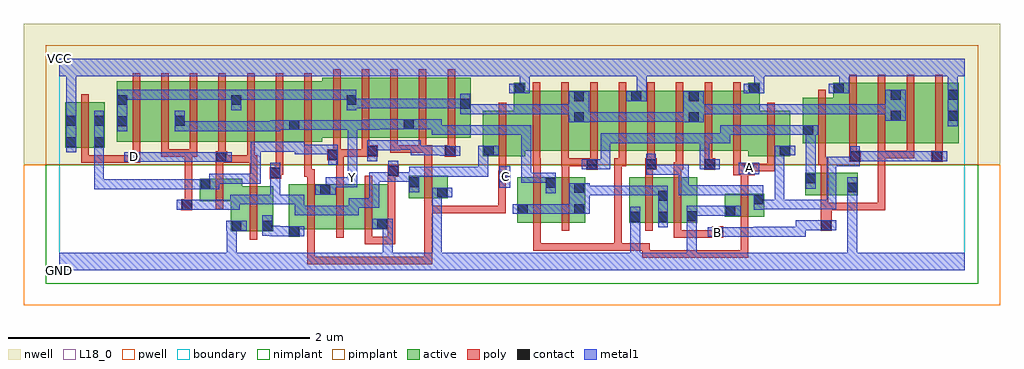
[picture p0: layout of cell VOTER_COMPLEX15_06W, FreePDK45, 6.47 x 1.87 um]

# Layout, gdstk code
import gdstk
lib = gdstk.Library(unit=1e-6, precision=1e-09)
def R(c, l, rs):  # rectangles x0, y0, x1, y1
    for r in rs: c.add(gdstk.rectangle(r[:2], r[2:], *l))
def A(c, l, x, y, w, h, nx, ny, dx, dy):  # array of equal rectangles
    R(c, l, [(x+i*dx, y+j*dy, x+i*dx+w, y+j*dy+h) for i in range(nx) for j in range(ny)])
active = (1, 0)
pwell = (2, 0)
nwell = (3, 0)
nimplant = (4, 0)
pimplant = (5, 0)
poly = (9, 0)
contact = (10, 0)
metal1 = (11, 0)
L18_0 = (18, 0)
boundary = (235, 0)

voter_complex15_06w = lib.new_cell('VOTER_COMPLEX15_06W')
A(voter_complex15_06w, active, 3.26, 0.79, 0.225, 0.4, 3, 1, 0.38, 0)
A(voter_complex15_06w, active, 3.41, 0.79, 0.23, 0.4, 3, 1, 0.38, 0)
R(voter_complex15_06w, active, [(1.52,0.22,1.595,0.57), (1.137,0.257,1.417,0.557), (1.137,0.257,1.212,0.495), (1.342,0.257,1.417,0.557), (1.52,0.27,1.802,0.57), (1.727,0.27,1.955,0.57), (1.955,0.27,2.18,0.57), (2.105,0.27,2.18,0.57), (3.037,0.315,3.297,0.615), (3.222,0.315,3.487,0.615), (3.782,0.315,3.857,0.615), (3.782,0.315,4.042,0.615), (3.967,0.315,4.232,0.615), (3.967,0.315,4.042,0.53), (4.157,0.315,4.232,0.615), (1.727,0.345,1.802,0.57), (3.037,0.345,3.112,0.615), (3.222,0.345,3.297,0.615), (3.412,0.345,3.487,0.615), (4.415,0.355,4.49,0.505), (4.415,0.355,4.675,0.505), (4.6,0.355,4.675,0.505), (0.932,0.457,1.212,0.607), (2.317,0.477,2.577,0.627), (2.502,0.477,2.577,0.627), (0.932,0.495,1.007,0.607), (2.317,0.495,2.392,0.627), (4.947,0.495,5.022,0.645), (4.947,0.495,5.297,0.645), (5.222,0.495,5.297,0.645), (2.81,0.755,3.09,1.055), (2.81,0.755,2.885,0.917), (4.57,0.755,4.85,1.055), (4.775,0.755,4.85,0.917), (3.015,0.79,3.26,1.19), (3.41,0.79,3.485,1.19), (4.17,0.79,4.245,1.19), (4.4,0.79,4.645,1.19), (0.04,0.812,0.115,1.112), (0.04,0.812,0.3,1.112), (0.225,0.812,0.3,1.055), (4.93,0.842,5.21,1.142), (5.135,0.842,5.36,1.242), (5.36,0.842,5.585,1.242), (5.51,0.842,5.74,1.242), (5.51,0.842,5.585,1.2), (5.74,0.842,5.965,1.242), (5.89,0.842,5.965,1.242), (0.38,0.852,0.605,1.252), (0.38,0.852,0.455,1.2), (0.605,0.852,0.835,1.252), (0.76,0.852,0.985,1.252), (0.76,0.852,0.835,1.07), (0.985,0.852,1.21,1.252), (1.135,0.852,1.365,1.252), (1.135,0.852,1.21,1.165), (1.365,0.852,1.595,1.252), (1.52,0.852,1.745,1.252), (1.52,0.852,1.595,1.07), (1.745,0.877,1.975,1.277), (1.9,0.877,2.125,1.277), (2.125,0.877,2.355,1.277), (2.28,0.877,2.505,1.277), (2.28,0.877,2.355,1.07), (2.505,0.877,2.73,1.277), (4.93,0.892,5.005,1.055), (5.135,0.892,5.21,1.242), (1.9,0.907,1.975,1.2), (2.655,0.907,2.73,1.155), (3.015,0.907,3.09,1.242), (3.79,0.907,3.865,1.19), (4.57,0.907,4.645,1.242)])
R(voter_complex15_06w, pwell, [(-0.235,-0.235,6.24,0.7)])
R(voter_complex15_06w, nwell, [(-0.235,0.7,6.24,1.635)])
R(voter_complex15_06w, nimplant, [(-0.09,-0.09,6.095,0.7)])
R(voter_complex15_06w, pimplant, [(-0.09,0.7,6.095,1.49)])
A(voter_complex15_06w, poly, 1.645, 0.215, 0.05, 0.41, 3, 1, 0.19, 0)
A(voter_complex15_06w, poly, 3.14, 0.69, 0.05, 0.095, 5, 1, 0.19, 0)
A(voter_complex15_06w, poly, 3.14, 0.735, 0.05, 0.51, 8, 1, 0.19, 0)
A(voter_complex15_06w, poly, 5.24, 0.742, 0.05, 0.095, 4, 1, 0.19, 0)
A(voter_complex15_06w, poly, 2.005, 0.777, 0.05, 0.095, 4, 1, 0.19, 0)
A(voter_complex15_06w, poly, 5.24, 0.787, 0.05, 0.51, 4, 1, 0.19, 0)
A(voter_complex15_06w, poly, 0.485, 0.797, 0.05, 0.51, 7, 1, 0.19, 0)
A(voter_complex15_06w, poly, 1.815, 0.822, 0.05, 0.51, 5, 1, 0.19, 0)
R(voter_complex15_06w, poly, [(1.645,0.037,1.695,0.087), (1.645,0.037,1.695,0.087), (1.645,0.037,1.695,0.087), (1.645,0.037,1.827,0.087), (1.645,0.037,1.695,0.265), (1.777,0.037,1.827,0.087), (1.777,0.037,1.827,0.087), (1.777,0.037,1.827,0.087), (1.777,0.037,1.827,0.087), (1.777,0.037,1.827,0.087), (1.777,0.037,2.095,0.087), (2.045,0.037,2.095,0.087), (2.045,0.037,2.095,0.087), (2.045,0.037,2.095,0.087), (2.045,0.037,2.245,0.087), (2.195,0.037,2.245,0.087), (2.195,0.037,2.245,0.087), (2.195,0.037,2.245,0.087), (2.195,0.037,2.472,0.087), (2.422,0.037,2.472,0.087), (2.422,0.037,2.472,0.087), (2.422,0.037,2.472,0.087), (2.422,0.037,2.472,0.427), (3.867,0.082,3.917,0.177), (3.867,0.082,3.917,0.132), (3.867,0.082,3.917,0.132), (3.867,0.082,3.917,0.132), (3.867,0.082,4.127,0.132), (4.077,0.082,4.127,0.132), (4.077,0.082,4.127,0.132), (4.077,0.082,4.127,0.132), (4.077,0.082,4.26,0.132), (4.21,0.082,4.26,0.132), (4.21,0.082,4.26,0.132), (4.21,0.082,4.26,0.132), (4.21,0.082,4.57,0.132), (4.52,0.082,4.57,0.132), (4.52,0.082,4.57,0.132), (4.52,0.082,4.57,0.132), (4.52,0.082,4.57,0.132), (4.52,0.082,4.57,0.132), (4.52,0.082,4.57,0.132), (4.52,0.082,4.57,0.132), (4.52,0.082,4.57,0.35), (3.142,0.127,3.192,0.177), (3.142,0.127,3.192,0.177), (3.142,0.127,3.192,0.177), (3.142,0.127,3.325,0.177), (3.142,0.127,3.192,0.31), (3.275,0.127,3.325,0.177), (3.275,0.127,3.6,0.177), (3.55,0.127,3.6,0.177), (3.55,0.127,3.6,0.177), (3.55,0.127,3.6,0.177), (3.55,0.127,3.732,0.177), (3.682,0.127,3.732,0.177), (3.682,0.127,3.732,0.177), (3.682,0.127,3.732,0.177), (3.682,0.127,3.732,0.177), (3.682,0.127,3.732,0.177), (3.682,0.127,3.732,0.177), (3.682,0.127,3.732,0.177), (3.682,0.127,3.732,0.177), (3.682,0.127,3.732,0.177), (3.682,0.127,3.917,0.177), (3.682,0.127,3.732,0.74), (3.867,0.127,3.917,0.177), (2.025,0.17,2.075,0.265), (2.025,0.17,2.075,0.22), (2.025,0.17,2.075,0.22), (2.025,0.17,2.075,0.22), (2.025,0.17,2.227,0.22), (2.177,0.17,2.227,0.22), (2.177,0.17,2.227,0.22), (2.177,0.17,2.227,0.22), (2.177,0.17,2.227,0.67), (1.262,0.202,1.312,0.612), (4.077,0.215,4.127,0.31), (4.077,0.215,4.127,0.265), (4.077,0.215,4.38,0.265), (4.33,0.215,4.405,0.29), (4.33,0.215,4.38,0.265), (4.33,0.215,4.38,0.265), (4.33,0.215,4.38,0.265), (4.33,0.215,4.38,0.265), (3.142,0.26,3.192,0.67), (3.332,0.26,3.382,0.67), (3.887,0.26,3.937,0.67), (4.077,0.26,4.127,0.67), (5.05,0.26,5.125,0.445), (4.52,0.3,4.57,0.56), (2.422,0.377,2.472,0.472), (2.422,0.377,2.472,0.427), (2.422,0.377,2.472,0.427), (2.422,0.377,2.472,0.427), (2.422,0.377,2.65,0.427), (2.6,0.377,2.65,0.427), (2.6,0.377,2.65,0.427), (2.6,0.377,2.65,0.427), (2.6,0.377,2.65,0.427), (2.6,0.377,2.65,0.427), (2.6,0.377,2.962,0.427), (2.912,0.377,2.962,0.427), (2.912,0.377,2.962,0.427), (2.912,0.377,2.962,0.427), (2.912,0.377,2.962,0.427), (2.912,0.377,2.962,0.427), (2.912,0.377,2.962,0.632), (0.807,0.395,0.882,0.47), (5.052,0.395,5.102,0.49), (5.075,0.395,5.125,0.445), (5.075,0.395,5.125,0.445), (5.075,0.395,5.257,0.445), (5.207,0.395,5.257,0.445), (5.207,0.395,5.48,0.445), (5.43,0.395,5.48,0.445), (5.43,0.395,5.48,0.445), (5.43,0.395,5.48,0.445), (5.43,0.395,5.48,0.445), (5.43,0.395,5.48,0.445), (5.43,0.395,5.48,0.445), (5.43,0.395,5.48,0.445), (5.43,0.395,5.48,0.792), (1.037,0.402,1.087,0.662), (0.832,0.42,0.882,0.802), (2.422,0.422,2.472,0.682), (5.052,0.44,5.102,0.7), (4.52,0.51,4.57,0.68), (1.262,0.562,1.312,0.762), (1.645,0.575,1.695,0.67), (1.835,0.575,1.885,0.777), (2.912,0.582,2.987,0.657), (1.395,0.607,1.47,0.682), (2.915,0.607,2.965,0.75), (1.037,0.612,1.087,0.762), (1.625,0.62,1.675,0.847), (1.625,0.62,1.695,0.67), (2.177,0.62,2.252,0.695), (3.142,0.62,3.192,0.74), (3.332,0.62,3.382,0.74), (3.887,0.62,3.937,0.715), (4.077,0.62,4.127,0.715), (4.47,0.63,4.612,0.705), (1.42,0.632,1.47,0.682), (1.42,0.632,1.47,0.682), (1.42,0.632,1.47,0.682), (1.42,0.632,1.485,0.682), (1.435,0.632,1.485,0.847), (2.422,0.632,2.472,0.827), (5.052,0.65,5.102,0.745), (4.47,0.655,4.52,0.785), (4.562,0.655,4.745,0.705), (4.695,0.655,4.745,0.75), (4.695,0.655,4.745,0.705), (4.695,0.655,4.745,0.705), (4.695,0.655,4.745,0.705), (3.495,0.665,3.57,0.74), (3.887,0.665,3.962,0.74), (4.077,0.665,4.14,0.715), (4.09,0.665,4.14,0.785), (4.277,0.665,4.352,0.74), (3.14,0.69,3.192,0.74), (3.33,0.69,3.382,0.74), (3.332,0.69,3.545,0.74), (3.495,0.69,3.545,0.74), (3.495,0.69,3.545,0.74), (3.682,0.69,3.76,0.74), (4.28,0.69,4.33,0.785), (5.035,0.695,5.085,0.837), (5.035,0.695,5.102,0.745), (2.915,0.7,2.965,1.11), (4.695,0.7,4.745,1.11), (0.145,0.712,0.195,0.807), (0.145,0.712,0.195,0.762), (0.145,0.712,0.195,0.762), (0.145,0.712,0.195,0.762), (0.145,0.712,0.51,0.762), (0.46,0.712,0.535,0.787), (0.46,0.712,0.51,0.762), (0.46,0.712,0.51,0.762), (1.037,0.712,1.112,0.787), (1.062,0.712,1.112,0.762), (1.062,0.712,1.112,0.762), (1.062,0.712,1.295,0.762), (1.245,0.712,1.312,0.762), (1.245,0.712,1.295,0.847), (5.24,0.717,5.315,0.792), (5.785,0.717,5.86,0.792), (1.777,0.727,1.885,0.802), (0.485,0.737,0.535,0.847), (1.055,0.737,1.105,0.847), (5.43,0.742,5.48,0.792), (5.43,0.742,5.67,0.792), (5.62,0.742,5.67,0.792), (5.62,0.742,5.67,0.792), (5.62,0.742,5.67,0.792), (0.675,0.752,0.725,0.847), (0.675,0.752,0.725,0.802), (0.675,0.752,0.882,0.802), (0.832,0.752,0.882,0.802), (0.832,0.752,0.882,0.802), (0.832,0.752,0.882,0.802), (0.832,0.752,0.882,0.802), (0.832,0.752,0.915,0.802), (0.865,0.752,0.915,0.847), (1.815,0.752,1.865,0.872), (1.835,0.752,1.885,0.802), (1.835,0.752,1.885,0.802), (1.835,0.752,2.055,0.802), (2.005,0.752,2.112,0.827), (2.555,0.752,2.63,0.827), (0.145,0.757,0.195,1.167), (2.195,0.777,2.245,0.827), (2.195,0.777,2.245,0.827), (2.195,0.777,2.245,0.827), (2.195,0.777,2.435,0.827), (2.385,0.777,2.472,0.827), (5.035,0.787,5.085,1.197)])
A(voter_complex15_06w, contact, 3.415, 1.12, 0.065, 0.065, 3, 1, 0.38, 0)
R(voter_complex15_06w, contact, [(4.335,0.22,4.4,0.285), (1.525,0.225,1.59,0.29), (1.142,0.262,1.207,0.327), (1.347,0.262,1.412,0.327), (5.055,0.265,5.12,0.33), (2.11,0.275,2.175,0.34), (3.787,0.32,3.852,0.385), (3.972,0.32,4.037,0.385), (4.162,0.325,4.227,0.39), (4.42,0.36,4.485,0.425), (3.042,0.372,3.107,0.437), (3.417,0.372,3.482,0.437), (0.812,0.4,0.877,0.465), (4.605,0.435,4.67,0.5), (3.972,0.46,4.037,0.525), (2.507,0.482,2.572,0.547), (1.732,0.5,1.797,0.565), (3.417,0.512,3.482,0.577), (5.227,0.515,5.292,0.58), (0.937,0.537,1.002,0.602), (3.227,0.545,3.292,0.61), (2.322,0.55,2.387,0.615), (4.952,0.575,5.017,0.64), (2.917,0.587,2.982,0.652), (1.4,0.612,1.465,0.677), (2.182,0.625,2.247,0.69), (4.542,0.635,4.607,0.7), (3.5,0.67,3.565,0.735), (3.892,0.67,3.957,0.735), (4.282,0.67,4.347,0.735), (0.465,0.717,0.53,0.782), (1.042,0.717,1.107,0.782), (5.245,0.722,5.31,0.787), (5.79,0.722,5.855,0.787), (1.782,0.732,1.847,0.797), (2.042,0.757,2.107,0.822), (2.56,0.757,2.625,0.822), (2.815,0.76,2.88,0.825), (4.78,0.76,4.845,0.825), (0.045,0.817,0.11,0.882), (0.23,0.817,0.295,0.882), (4.935,0.897,5,0.962), (1.525,0.93,1.59,0.995), (2.285,0.935,2.35,1), (0.385,0.955,0.45,1.02), (0.045,0.957,0.11,1.022), (0.23,0.957,0.295,1.022), (0.765,0.957,0.83,1.022), (3.415,0.98,3.48,1.045), (4.175,0.98,4.24,1.045), (5.515,0.99,5.58,1.055), (5.895,0.99,5.96,1.055), (2.66,1.07,2.725,1.135), (0.385,1.095,0.45,1.16), (1.14,1.095,1.205,1.16), (1.905,1.095,1.97,1.16), (5.515,1.13,5.58,1.195), (5.895,1.13,5.96,1.195), (3.02,1.172,3.085,1.237), (4.575,1.172,4.64,1.237), (5.14,1.172,5.205,1.237)])
R(voter_complex15_06w, metal1, [(0,0,6.005,0.115), (1.11,0.05,1.175,0.327), (2.145,0.05,2.21,0.115), (2.145,0.05,2.21,0.115), (2.145,0.05,2.21,0.115), (2.145,0.05,2.21,0.115), (2.145,0.05,2.21,0.34), (2.472,0.05,2.537,0.115), (2.472,0.05,2.537,0.115), (2.472,0.05,2.537,0.115), (2.472,0.05,2.537,0.115), (2.472,0.05,2.537,0.115), (2.472,0.05,2.537,0.115), (2.472,0.05,2.537,0.547), (3.787,0.05,3.852,0.115), (3.787,0.05,3.852,0.115), (3.787,0.05,3.852,0.115), (3.787,0.05,3.852,0.115), (3.787,0.05,3.852,0.35), (4.162,0.05,4.227,0.115), (4.162,0.05,4.227,0.115), (4.162,0.05,4.227,0.355), (5.227,0.05,5.292,0.115), (5.227,0.05,5.292,0.115), (5.227,0.05,5.292,0.545), (4.3,0.22,4.435,0.285), (4.37,0.22,4.45,0.285), (4.385,0.22,4.45,0.285), (4.385,0.22,4.67,0.285), (4.605,0.22,4.67,0.287), (4.605,0.222,4.67,0.287), (4.605,0.222,4.67,0.287), (4.605,0.222,4.812,0.287), (4.747,0.222,4.95,0.287), (4.747,0.222,4.812,0.287), (4.747,0.222,4.812,0.287), (4.747,0.222,4.812,0.287), (4.885,0.222,4.95,0.33), (1.397,0.225,1.462,0.292), (1.397,0.225,1.555,0.29), (1.49,0.225,1.625,0.29), (1.347,0.227,1.412,0.362), (1.347,0.227,1.462,0.292), (1.107,0.262,1.242,0.327), (1.11,0.262,1.175,0.327), (1.11,0.262,1.175,0.327), (1.11,0.262,1.175,0.327), (1.11,0.262,1.175,0.327), (4.885,0.265,5.085,0.33), (5.02,0.265,5.155,0.33), (2.075,0.275,2.21,0.34), (3.787,0.285,3.852,0.42), (3.972,0.285,4.037,0.56), (4.162,0.29,4.227,0.355), (4.162,0.29,4.227,0.355), (4.162,0.29,4.227,0.425), (4.162,0.36,4.227,0.425), (4.162,0.36,4.227,0.425), (4.162,0.36,4.312,0.425), (4.247,0.36,4.45,0.425), (4.247,0.36,4.312,0.425), (4.385,0.36,4.52,0.425), (1.56,0.362,1.625,0.427), (1.56,0.362,1.625,0.427), (1.56,0.362,1.625,0.5), (1.56,0.362,1.832,0.427), (1.767,0.362,1.832,0.427), (1.767,0.362,1.832,0.427), (1.767,0.362,1.832,0.427), (1.767,0.362,1.985,0.427), (1.92,0.362,1.985,0.477), (3.007,0.372,3.142,0.437), (3.077,0.372,3.142,0.437), (3.077,0.372,3.142,0.437), (3.077,0.372,3.307,0.437), (3.242,0.372,3.307,0.437), (3.242,0.372,3.307,0.437), (3.242,0.372,3.307,0.437), (3.242,0.372,3.447,0.437), (3.382,0.372,3.517,0.577), (0.777,0.4,0.912,0.465), (0.847,0.4,1.035,0.465), (0.97,0.4,1.035,0.465), (0.97,0.4,1.06,0.465), (0.995,0.4,1.06,0.465), (0.995,0.4,1.197,0.465), (1.132,0.4,1.197,0.5), (4.605,0.4,4.67,0.535), (4.605,0.402,4.81,0.467), (4.745,0.402,4.81,0.467), (4.745,0.402,4.81,0.467), (4.745,0.402,4.81,0.467), (4.745,0.402,4.81,0.467), (4.745,0.402,4.81,0.467), (4.745,0.402,4.81,0.467), (4.745,0.402,4.81,0.467), (4.745,0.402,4.95,0.467), (4.745,0.402,4.81,0.825), (4.885,0.402,4.95,0.467), (4.885,0.402,5.155,0.467), (5.09,0.402,5.155,0.467), (5.09,0.402,5.155,0.752), (1.92,0.412,1.985,0.477), (1.92,0.412,1.985,0.477), (1.92,0.412,2.122,0.477), (2.057,0.412,2.122,0.65), (1.132,0.435,1.312,0.5), (1.247,0.435,1.312,0.5), (1.247,0.435,1.342,0.5), (1.277,0.435,1.342,0.5), (1.277,0.435,1.465,0.5), (1.4,0.435,1.625,0.5), (1.4,0.435,1.465,0.712), (4.605,0.47,4.67,0.535), (4.605,0.47,4.67,0.562), (5.227,0.48,5.292,0.545), (5.227,0.48,5.292,0.545), (5.227,0.48,5.292,0.545), (5.227,0.48,5.292,0.545), (5.227,0.48,5.292,0.615), (2.472,0.482,2.607,0.547), (3.452,0.495,3.682,0.56), (3.617,0.495,3.82,0.56), (3.617,0.495,3.682,0.56), (3.617,0.495,3.682,0.56), (3.617,0.495,3.682,0.56), (3.755,0.495,3.82,0.56), (3.755,0.495,3.82,0.56), (3.755,0.495,3.82,0.56), (3.755,0.495,4.037,0.56), (3.972,0.495,4.037,0.56), (3.972,0.495,4.037,0.56), (4.11,0.497,4.312,0.562), (4.11,0.497,4.175,0.697), (4.247,0.497,4.45,0.562), (4.247,0.497,4.312,0.562), (4.247,0.497,4.312,0.562), (4.247,0.497,4.312,0.562), (4.385,0.497,4.45,0.562), (4.385,0.497,4.67,0.562), (1.697,0.5,1.832,0.565), (1.767,0.5,1.832,0.565), (1.767,0.5,1.832,0.615), (3.227,0.51,3.292,0.645), (2.322,0.515,2.387,0.65), (0.23,0.537,0.295,0.602), (0.23,0.537,0.295,0.602), (0.23,0.537,0.295,0.602), (0.23,0.537,0.565,0.602), (0.23,0.537,0.295,0.847), (0.5,0.537,0.565,0.602), (0.5,0.537,0.587,0.602), (0.522,0.537,0.587,0.602), (0.522,0.537,0.705,0.602), (0.64,0.537,0.705,0.602), (0.64,0.537,0.83,0.602), (0.765,0.537,0.83,0.602), (0.765,0.537,0.922,0.602), (0.857,0.537,0.922,0.602), (0.857,0.537,0.967,0.602), (0.902,0.537,1.037,0.602), (0.972,0.537,1.06,0.602), (0.995,0.537,1.06,0.637), (4.952,0.54,5.017,0.675), (2.917,0.547,2.992,0.687), (1.767,0.55,1.977,0.615), (1.912,0.55,1.977,0.615), (1.912,0.55,1.977,0.615), (1.912,0.55,1.977,0.685), (0.995,0.572,1.175,0.637), (1.11,0.572,1.175,0.637), (1.11,0.572,1.325,0.637), (1.26,0.572,1.325,0.637), (1.26,0.572,1.335,0.637), (1.27,0.572,1.335,0.637), (1.27,0.572,1.335,0.85), (3.065,0.58,3.13,0.645), (3.065,0.58,3.13,0.645), (3.065,0.58,3.13,0.645), (3.065,0.58,3.13,0.645), (3.065,0.58,3.13,0.645), (3.065,0.58,3.13,0.645), (3.065,0.58,3.13,0.645), (3.065,0.58,3.292,0.645), (3.065,0.58,3.13,0.962), (2.057,0.585,2.247,0.65), (2.182,0.585,2.387,0.65), (2.182,0.585,2.247,0.725), (2.322,0.585,2.387,0.685), (4.952,0.61,5.017,0.675), (4.952,0.61,5.017,0.675), (4.952,0.61,5.017,0.962), (1.912,0.62,1.977,0.995), (2.322,0.62,2.387,0.685), (2.322,0.62,2.397,0.685), (2.332,0.62,2.397,0.685), (2.332,0.62,2.587,0.685), (2.522,0.62,2.587,0.685), (2.522,0.62,2.587,0.685), (2.522,0.62,2.587,0.685), (2.522,0.62,2.845,0.685), (2.78,0.62,2.845,0.685), (2.78,0.62,2.845,0.685), (2.78,0.62,2.845,0.685), (2.78,0.62,2.845,0.685), (2.78,0.62,2.845,0.685), (2.78,0.62,2.845,0.825), (3.892,0.632,3.957,0.697), (3.892,0.632,4.175,0.697), (3.892,0.632,3.957,0.7), (3.892,0.635,3.957,0.7), (3.892,0.635,3.957,0.7), (3.892,0.635,3.957,0.77), (4.507,0.635,4.642,0.712), (3.465,0.67,3.6,0.735), (3.535,0.67,3.655,0.735), (3.59,0.67,3.655,0.735), (3.59,0.67,3.655,0.907), (4.247,0.67,4.382,0.735), (4.247,0.67,4.312,0.735), (4.247,0.67,4.312,0.735), (4.247,0.67,4.312,0.907), (5.09,0.687,5.155,0.752), (5.09,0.687,5.155,0.752), (5.09,0.687,5.155,0.752), (5.09,0.687,5.155,0.752), (5.09,0.687,5.155,0.752), (5.09,0.687,5.31,0.752), (5.245,0.687,5.31,0.822), (1.782,0.697,1.847,0.832), (0.43,0.717,0.565,0.782), (0.5,0.717,0.587,0.782), (0.522,0.717,0.587,0.782), (0.522,0.717,0.702,0.782), (0.637,0.717,0.702,0.782), (0.637,0.717,0.83,0.782), (0.765,0.717,0.83,0.782), (0.765,0.717,0.842,0.782), (0.777,0.717,0.842,0.782), (0.777,0.717,0.967,0.782), (0.902,0.717,0.967,0.782), (0.902,0.717,1.072,0.782), (1.007,0.717,1.142,0.782), (2.042,0.722,2.107,0.86), (5.245,0.722,5.31,0.787), (5.245,0.722,5.31,0.787), (5.245,0.722,5.447,0.787), (5.382,0.722,5.447,0.787), (5.382,0.722,5.447,0.787), (5.382,0.722,5.447,0.787), (5.382,0.722,5.682,0.787), (5.617,0.722,5.82,0.787), (5.617,0.722,5.682,0.787), (5.617,0.722,5.682,0.787), (5.617,0.722,5.682,0.787), (5.755,0.722,5.89,0.787), (2.522,0.757,2.587,0.825), (2.522,0.757,2.59,0.822), (2.525,0.757,2.66,0.822), (2.332,0.76,2.587,0.825), (2.332,0.76,2.397,0.862), (2.78,0.76,2.915,0.825), (4.745,0.76,4.88,0.825), (1.56,0.767,1.625,0.832), (1.56,0.767,1.625,0.832), (1.56,0.767,1.762,0.832), (1.56,0.767,1.625,0.85), (1.697,0.767,1.762,0.832), (1.697,0.767,1.847,0.832), (0.045,0.782,0.11,1.057), (0.23,0.782,0.295,1.057), (0.23,0.782,0.295,0.847), (0.23,0.782,0.295,0.847), (1.27,0.785,1.335,0.85), (1.27,0.785,1.462,0.85), (1.397,0.785,1.462,0.85), (1.397,0.785,1.625,0.85), (2.042,0.795,2.177,0.86), (2.112,0.795,2.177,0.86), (2.112,0.795,2.26,0.86), (2.195,0.795,2.26,0.862), (2.195,0.797,2.397,0.862), (2.332,0.797,2.397,0.862), (2.332,0.797,2.397,0.862), (3.59,0.842,3.655,0.907), (3.59,0.842,3.82,0.907), (3.755,0.842,3.82,0.907), (3.755,0.842,3.82,0.907), (3.755,0.842,3.82,0.907), (3.755,0.842,4.037,0.907), (3.972,0.842,4.175,0.907), (3.972,0.842,4.037,0.907), (3.972,0.842,4.037,0.907), (3.972,0.842,4.037,0.907), (4.11,0.842,4.175,0.907), (4.11,0.842,4.312,0.907), (4.247,0.842,4.45,0.907), (4.247,0.842,4.312,0.907), (4.247,0.842,4.312,0.907), (4.247,0.842,4.312,0.907), (4.247,0.842,4.312,0.907), (4.247,0.842,4.312,0.907), (4.385,0.842,4.45,0.962), (2.47,0.897,2.725,0.962), (2.47,0.897,2.535,1), (2.66,0.897,2.725,0.962), (2.66,0.897,2.797,0.962), (2.732,0.897,2.797,0.962), (2.732,0.897,2.992,0.962), (2.927,0.897,3.13,0.962), (2.927,0.897,2.992,0.962), (3.065,0.897,3.13,0.962), (4.385,0.897,4.67,0.962), (4.605,0.897,4.67,0.962), (4.605,0.897,4.67,0.962), (4.605,0.897,4.67,0.962), (4.605,0.897,4.807,0.962), (4.742,0.897,4.807,0.962), (4.742,0.897,4.807,0.962), (4.742,0.897,4.807,0.962), (4.742,0.897,4.965,0.962), (4.9,0.897,5.035,0.962), (4.952,0.897,5.017,0.962), (4.952,0.897,5.017,0.962), (0.385,0.92,0.45,1.195), (0.765,0.922,0.83,1.057), (0.765,0.922,0.842,0.987), (0.777,0.922,0.842,0.987), (0.777,0.922,1.035,0.987), (0.97,0.922,1.035,0.987), (0.97,0.922,1.06,0.987), (0.995,0.922,1.06,0.987), (0.995,0.922,1.197,0.987), (1.132,0.922,1.197,0.987), (1.132,0.922,1.197,0.987), (1.132,0.922,1.197,0.987), (1.132,0.922,1.342,0.987), (1.277,0.922,1.342,0.987), (1.277,0.922,1.465,0.987), (1.4,0.922,1.465,0.995), (1.4,0.93,1.555,0.995), (1.49,0.93,1.625,0.995), (1.56,0.93,1.625,0.995), (1.56,0.93,1.625,0.995), (1.56,0.93,1.762,0.995), (1.697,0.93,1.762,0.995), (1.697,0.93,1.762,0.995), (1.697,0.93,1.762,0.995), (1.697,0.93,1.977,0.995), (1.912,0.93,1.977,0.995), (1.912,0.93,2.077,0.995), (2.012,0.93,2.077,0.997), (2.012,0.932,2.122,0.997), (2.057,0.932,2.122,1), (2.057,0.935,2.245,1), (2.18,0.935,2.315,1), (2.18,0.935,2.245,1), (2.25,0.935,2.385,1), (2.32,0.935,2.397,1), (2.332,0.935,2.535,1), (2.332,0.935,2.397,1), (2.47,0.935,2.535,1), (2.47,0.935,2.535,1), (2.47,0.935,2.535,1), (2.47,0.935,2.535,1), (5.895,0.955,5.96,1.23), (3.38,0.98,3.515,1.185), (4.14,0.98,4.275,1.185), (3.45,0.982,3.655,1.047), (3.59,0.982,3.655,1.047), (3.59,0.982,3.655,1.047), (3.59,0.982,3.655,1.047), (3.59,0.982,3.82,1.047), (3.755,0.982,3.82,1.047), (3.755,0.982,3.82,1.047), (3.755,0.982,3.82,1.047), (3.755,0.982,4.037,1.047), (3.972,0.982,4.175,1.047), (3.972,0.982,4.037,1.047), (3.972,0.982,4.037,1.047), (3.972,0.982,4.037,1.047), (4.11,0.982,4.175,1.047), (4.11,0.982,4.205,1.047), (5.48,0.99,5.615,1.195), (0.045,0.992,0.11,1.057), (0.045,0.992,0.11,1.057), (0.045,0.992,0.11,1.35), (2.66,1.035,2.725,1.17), (2.66,1.035,2.845,1.1), (2.78,1.035,2.845,1.1), (2.78,1.035,2.982,1.1), (2.917,1.035,2.982,1.1), (2.917,1.035,2.982,1.1), (2.917,1.035,2.982,1.1), (2.917,1.035,3.17,1.1), (3.105,1.035,3.17,1.1), (3.105,1.035,3.307,1.1), (3.242,1.035,3.445,1.1), (3.242,1.035,3.307,1.1), (3.242,1.035,3.307,1.1), (3.242,1.035,3.307,1.1), (4.21,1.035,4.312,1.1), (4.247,1.035,4.45,1.1), (4.247,1.035,4.312,1.1), (4.385,1.035,4.45,1.1), (4.385,1.035,4.587,1.1), (4.522,1.035,4.587,1.1), (4.522,1.035,4.587,1.1), (4.522,1.035,4.587,1.1), (4.522,1.035,4.812,1.1), (4.747,1.035,4.95,1.1), (4.747,1.035,4.812,1.1), (4.747,1.035,4.812,1.1), (4.747,1.035,4.812,1.1), (4.885,1.035,4.95,1.1), (4.885,1.035,5.172,1.1), (5.107,1.035,5.31,1.1), (5.107,1.035,5.172,1.1), (5.107,1.035,5.172,1.1), (5.107,1.035,5.172,1.1), (5.245,1.035,5.31,1.1), (5.245,1.035,5.31,1.1), (5.245,1.035,5.31,1.1), (5.245,1.035,5.545,1.1), (5.48,1.035,5.545,1.1), (5.48,1.035,5.545,1.1), (1.14,1.06,1.205,1.195), (1.905,1.06,1.97,1.195), (1.905,1.072,1.985,1.137), (1.92,1.072,1.985,1.137), (1.92,1.072,2.122,1.137), (2.057,1.072,2.26,1.137), (2.057,1.072,2.122,1.137), (2.195,1.072,2.26,1.137), (2.195,1.072,2.315,1.137), (2.25,1.072,2.315,1.137), (2.25,1.072,2.397,1.137), (2.332,1.072,2.535,1.137), (2.332,1.072,2.397,1.137), (2.47,1.072,2.535,1.137), (2.47,1.072,2.535,1.137), (2.47,1.072,2.535,1.137), (2.47,1.072,2.725,1.137), (3.76,1.12,3.895,1.185), (3.83,1.12,3.895,1.35), (0.385,1.13,0.45,1.195), (0.385,1.13,0.45,1.195), (0.385,1.13,0.587,1.195), (0.522,1.13,0.587,1.195), (0.522,1.13,0.705,1.195), (0.64,1.13,0.705,1.195), (0.64,1.13,0.725,1.195), (0.66,1.13,0.725,1.195), (0.66,1.13,0.922,1.195), (0.857,1.13,0.922,1.195), (0.857,1.13,1.035,1.195), (0.97,1.13,1.035,1.195), (0.97,1.13,1.06,1.195), (0.995,1.13,1.06,1.195), (0.995,1.13,1.205,1.195), (1.14,1.13,1.205,1.195), (1.14,1.13,1.205,1.195), (1.14,1.13,1.342,1.195), (1.277,1.13,1.342,1.195), (1.277,1.13,1.465,1.195), (1.4,1.13,1.465,1.195), (1.4,1.13,1.602,1.195), (1.537,1.13,1.602,1.195), (1.537,1.13,1.602,1.195), (1.537,1.13,1.602,1.195), (1.537,1.13,1.827,1.195), (1.762,1.13,1.827,1.195), (1.762,1.13,1.827,1.195), (1.762,1.13,1.827,1.195), (1.762,1.13,1.97,1.195), (5.895,1.165,5.96,1.35), (2.985,1.172,3.12,1.237), (3.055,1.172,3.12,1.35), (4.54,1.172,4.675,1.237), (4.61,1.172,4.675,1.35), (5.105,1.172,5.24,1.237), (5.175,1.172,5.24,1.35), (0,1.285,6.005,1.4)])
R(voter_complex15_06w, L18_0, [(0,0,6.005,0.115), (1.11,0.05,1.175,0.327), (2.145,0.05,2.21,0.115), (2.145,0.05,2.21,0.115), (2.145,0.05,2.21,0.115), (2.145,0.05,2.21,0.115), (2.145,0.05,2.21,0.34), (2.472,0.05,2.537,0.115), (2.472,0.05,2.537,0.115), (2.472,0.05,2.537,0.115), (2.472,0.05,2.537,0.115), (2.472,0.05,2.537,0.115), (2.472,0.05,2.537,0.115), (2.472,0.05,2.537,0.547), (3.787,0.05,3.852,0.115), (3.787,0.05,3.852,0.115), (3.787,0.05,3.852,0.115), (3.787,0.05,3.852,0.115), (3.787,0.05,3.852,0.35), (4.162,0.05,4.227,0.115), (4.162,0.05,4.227,0.115), (4.162,0.05,4.227,0.355), (5.227,0.05,5.292,0.115), (5.227,0.05,5.292,0.115), (5.227,0.05,5.292,0.545), (4.3,0.22,4.435,0.285), (4.335,0.22,4.4,0.285), (4.37,0.22,4.45,0.285), (4.385,0.22,4.45,0.285), (4.385,0.22,4.67,0.285), (4.605,0.22,4.67,0.287), (4.605,0.222,4.67,0.287), (4.605,0.222,4.67,0.287), (4.605,0.222,4.812,0.287), (4.747,0.222,4.812,0.287), (4.747,0.222,4.812,0.287), (4.747,0.222,4.812,0.287), (4.747,0.222,4.95,0.287), (4.885,0.222,4.95,0.33), (1.107,0.262,1.242,0.327), (1.11,0.262,1.175,0.327), (1.11,0.262,1.175,0.327), (1.11,0.262,1.175,0.327), (1.11,0.262,1.175,0.327), (4.885,0.265,5.085,0.33), (5.02,0.265,5.155,0.33), (2.075,0.275,2.21,0.34), (3.787,0.285,3.852,0.42), (4.162,0.29,4.227,0.355), (4.162,0.29,4.227,0.355), (4.162,0.29,4.227,0.425), (4.162,0.36,4.227,0.425), (4.162,0.36,4.227,0.425), (4.162,0.36,4.312,0.425), (4.247,0.36,4.312,0.425), (4.247,0.36,4.45,0.425), (4.385,0.36,4.52,0.425), (5.227,0.48,5.292,0.545), (5.227,0.48,5.292,0.545), (5.227,0.48,5.292,0.545), (5.227,0.48,5.292,0.545), (5.227,0.48,5.292,0.615), (2.472,0.482,2.607,0.547), (1.697,0.5,1.832,0.565), (1.767,0.5,1.832,0.565), (1.767,0.5,1.832,0.615), (3.227,0.51,3.292,0.645), (2.917,0.547,2.992,0.687), (1.767,0.55,1.977,0.615), (1.912,0.55,1.977,0.615), (1.912,0.55,1.977,0.615), (1.912,0.55,1.977,0.685), (3.065,0.58,3.13,0.645), (3.065,0.58,3.13,0.645), (3.065,0.58,3.13,0.645), (3.065,0.58,3.13,0.645), (3.065,0.58,3.13,0.645), (3.065,0.58,3.13,0.645), (3.065,0.58,3.13,0.645), (3.065,0.58,3.13,0.962), (3.065,0.58,3.292,0.645), (1.912,0.585,1.977,0.65), (2.927,0.587,2.992,0.652), (1.912,0.62,1.977,0.995), (4.507,0.635,4.642,0.712), (4.542,0.647,4.607,0.712), (0.43,0.717,0.565,0.782), (0.465,0.717,0.53,0.782), (0.5,0.717,0.587,0.782), (0.522,0.717,0.587,0.782), (0.522,0.717,0.702,0.782), (0.637,0.717,0.702,0.782), (0.637,0.717,0.83,0.782), (0.765,0.717,0.83,0.782), (0.765,0.717,0.842,0.782), (0.777,0.717,0.842,0.782), (0.777,0.717,0.967,0.782), (0.902,0.717,0.967,0.782), (0.902,0.717,1.072,0.782), (1.007,0.717,1.142,0.782), (0.045,0.782,0.11,1.057), (2.47,0.897,2.535,1), (2.47,0.897,2.725,0.962), (2.66,0.897,2.725,0.962), (2.66,0.897,2.797,0.962), (2.732,0.897,2.797,0.962), (2.732,0.897,2.992,0.962), (2.927,0.897,2.992,0.962), (2.927,0.897,3.13,0.962), (3.065,0.897,3.13,0.962), (0.765,0.922,0.83,1.057), (0.765,0.922,0.842,0.987), (0.777,0.922,0.842,0.987), (0.777,0.922,1.035,0.987), (0.97,0.922,1.035,0.987), (0.97,0.922,1.06,0.987), (0.995,0.922,1.06,0.987), (0.995,0.922,1.197,0.987), (1.132,0.922,1.197,0.987), (1.132,0.922,1.197,0.987), (1.132,0.922,1.197,0.987), (1.132,0.922,1.342,0.987), (1.277,0.922,1.342,0.987), (1.277,0.922,1.465,0.987), (1.4,0.922,1.465,0.995), (1.4,0.93,1.555,0.995), (1.49,0.93,1.625,0.995), (1.56,0.93,1.625,0.995), (1.56,0.93,1.625,0.995), (1.56,0.93,1.762,0.995), (1.697,0.93,1.762,0.995), (1.697,0.93,1.762,0.995), (1.697,0.93,1.762,0.995), (1.697,0.93,1.977,0.995), (1.912,0.93,1.977,0.995), (1.912,0.93,2.077,0.995), (2.012,0.93,2.077,0.997), (2.012,0.932,2.122,0.997), (2.057,0.932,2.122,1), (2.057,0.935,2.245,1), (2.18,0.935,2.245,1), (2.18,0.935,2.315,1), (2.25,0.935,2.385,1), (2.32,0.935,2.397,1), (2.332,0.935,2.397,1), (2.332,0.935,2.535,1), (2.47,0.935,2.535,1), (2.47,0.935,2.535,1), (2.47,0.935,2.535,1), (2.47,0.935,2.535,1), (5.895,0.955,5.96,1.23), (0.045,0.992,0.11,1.057), (0.045,0.992,0.11,1.057), (0.045,0.992,0.11,1.35), (3.76,1.12,3.895,1.185), (3.83,1.12,3.895,1.35), (5.895,1.165,5.96,1.35), (2.985,1.172,3.12,1.237), (3.055,1.172,3.12,1.35), (4.54,1.172,4.675,1.237), (4.61,1.172,4.675,1.35), (5.105,1.172,5.24,1.237), (5.175,1.172,5.24,1.35), (0,1.285,6.005,1.4)])
R(voter_complex15_06w, boundary, [(0,0,6.005,1.4)])
voter_complex15_06w.add(gdstk.Label('A', (4.575,0.68), layer=11, texttype=0))
voter_complex15_06w.add(gdstk.Label('B', (4.367,0.252), layer=11, texttype=0))
voter_complex15_06w.add(gdstk.Label('C', (2.96,0.62), layer=11, texttype=0))
voter_complex15_06w.add(gdstk.Label('D', (0.497,0.75), layer=11, texttype=0))
voter_complex15_06w.add(gdstk.Label('Y', (1.945,0.617), layer=11, texttype=0))
voter_complex15_06w.add(gdstk.Label('VCC', (0,1.4), layer=11, texttype=0))
voter_complex15_06w.add(gdstk.Label('GND', (0,0), layer=11, texttype=0))

lib.write_gds('VOTER_COMPLEX15_06W.gds')
